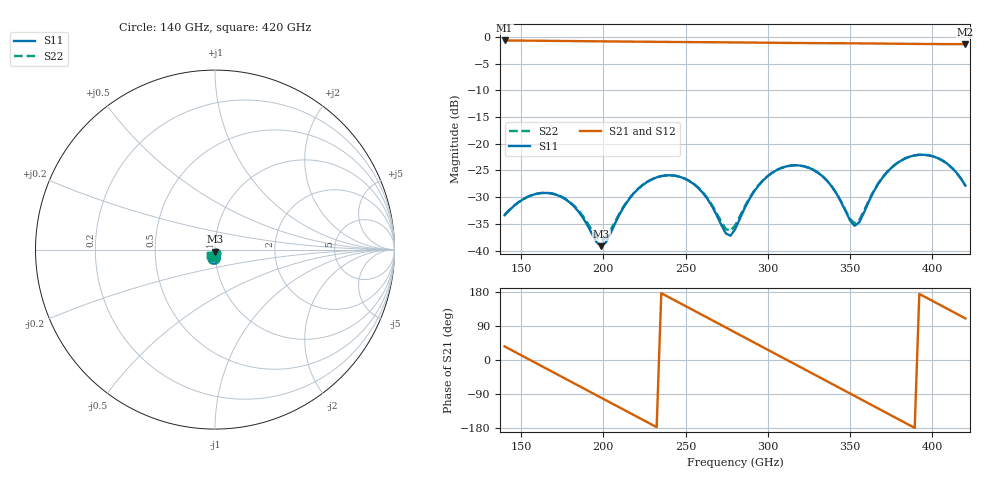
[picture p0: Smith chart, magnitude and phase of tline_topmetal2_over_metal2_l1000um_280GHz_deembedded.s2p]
! Created with skrf 2.2.0 (http://scikit-rf.org).
# GHz S DB R 50.0
! Port[1] = P1
! Port[2] = P2
!freq dBS11 angS11 dBS21 angS21 dBS12 angS12 dBS22 angS22
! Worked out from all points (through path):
!   101 points, 140 GHz to 420 GHz, reference 50 ohm
!   highest |S21| = -0.69 dB at 140 GHz (marker M1); lowest = -1.4 dB at 420 GHz (marker M2)
!   group delay of S21, straight-line fit = 6.41 ps
!   lowest |S11| = -39.2 dB at 198.8 GHz (marker M3), VSWR 1.02, Z = 49.9 - j1.1 ohm
!   |S11| at or under -10 dB: start of sweep to end of sweep
!   |S22| runs from -38.1 to -22.1 dB; largest |S21 - S12| = 1e-13
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140  -33.37 -70.7  -0.69 35.8  -0.69 35.8  -33.27 -72.4
151.2  -30.39 -81.5  -0.72 10.0  -0.72 10.0  -30.37 -82.1
162.4  -29.22 -98.2  -0.75 -15.9  -0.75 -15.9  -29.20 -98.1
176.4  -30.27 -119.6  -0.79 -48.2  -0.79 -48.2  -30.18 -118.5
187.6  -33.84 -129.3  -0.82 -74.0  -0.82 -74.0  -33.54 -127.0
198.8  -39.15 -94.8  -0.85 -99.8  -0.85 -99.8  -38.12 -95.7
218.4  -29.31 -63.1  -0.91 -145.0  -0.91 -145.0  -29.26 -65.4
235.2  -26.05 -89.9  -0.95 176.3  -0.95 176.3  -26.05 -90.9
246.4  -26.18 -109.5  -0.98 150.5  -0.98 150.5  -26.17 -109.8
260.4  -29.16 -129.7  -1.01 118.2  -1.01 118.2  -29.07 -128.8
274.4  -36.75 -110.4  -1.04 85.9  -1.04 85.9  -35.93 -109.4
280  -36.04 -73.0  -1.06 72.9  -1.06 72.9  -35.32 -76.6
291.2  -29.11 -58.3  -1.09 47.1  -1.09 47.1  -28.99 -61.5
305.2  -24.95 -77.0  -1.13 14.8  -1.13 14.8  -24.94 -79.0
316.4  -24.02 -96.3  -1.16 -11.0  -1.16 -11.0  -24.03 -97.7
327.6  -24.87 -115.2  -1.18 -36.8  -1.18 -36.8  -24.89 -116.2
341.6  -29.28 -130.5  -1.21 -69.2  -1.21 -69.2  -29.24 -130.5
352.8  -35.34 -95.5  -1.23 -95.1  -1.23 -95.1  -34.89 -95.9
375.2  -24.46 -65.1  -1.29 -146.9  -1.29 -146.9  -24.41 -67.1
386.4  -22.40 -83.3  -1.33 -172.7  -1.33 -172.7  -22.38 -85.1
397.6  -22.16 -103.0  -1.35 161.5  -1.35 161.5  -22.15 -104.6
420  -27.83 -131.5  -1.39 109.7  -1.39 109.7  -27.83 -132.8
